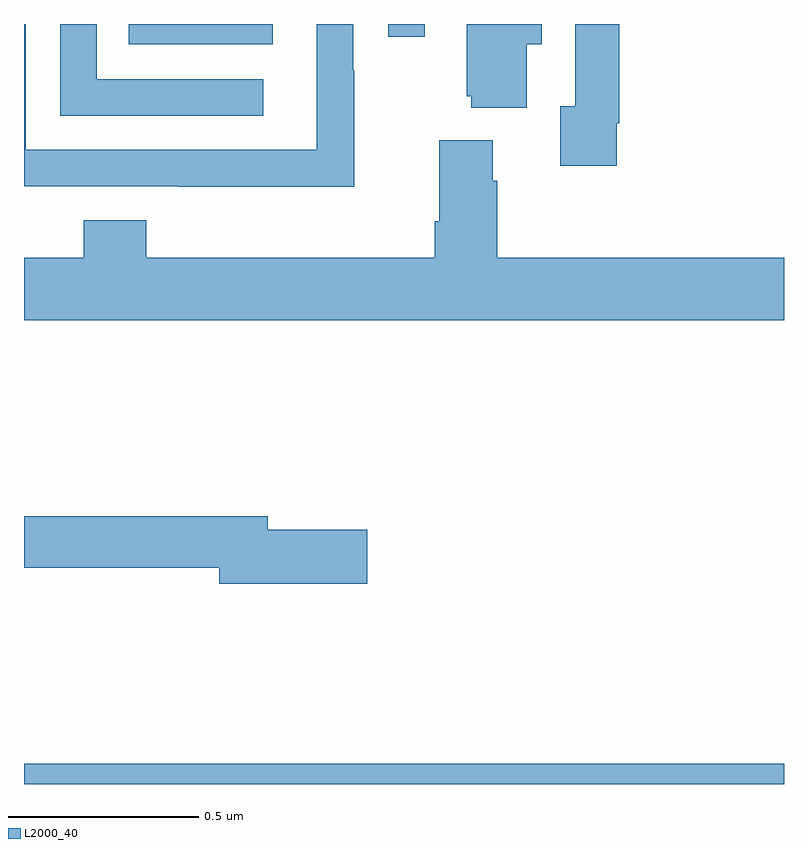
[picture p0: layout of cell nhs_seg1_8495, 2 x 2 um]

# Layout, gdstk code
import gdstk
lib = gdstk.Library(unit=1e-6, precision=1e-09)
def R(c, l, rs):  # rectangles x0, y0, x1, y1
    for r in rs: c.add(gdstk.rectangle(r[:2], r[2:], *l))
def P(c, l, *ps):  # polygons
    for p in ps: c.add(gdstk.Polygon(p, *l))
L2000_40 = (2000, 40)

nhs_seg1_8495 = lib.new_cell('nhs_seg1_8495')
R(nhs_seg1_8495, L2000_40, [(217,529.199,219,529.252), (217.276,531.146,217.654,531.199), (217.959,531.165,218.055,531.199)])
P(nhs_seg1_8495, L2000_40, [(217.869,531.077),(217.866,531.077),(217.866,531.199),(217.77,531.199),(217.77,530.868),(217.005,530.868),(217.005,531.199),(217,531.199),(217,530.772),(217.405,530.772),(217.405,530.771),(217.869,530.771)],
  [(218.323,531.146),(218.362,531.146),(218.362,531.199),(218.165,531.199),(218.165,531.009),(218.177,531.009),(218.177,530.978),(218.323,530.978)],
  [(217.63,531.054),(217.191,531.054),(217.191,531.199),(217.095,531.199),(217.095,530.958),(217.63,530.958)],
  [(218.56,530.938),(218.567,530.938),(218.567,531.199),(218.451,531.199),(218.451,530.982),(218.411,530.982),(218.411,530.826),(218.56,530.826)],
  [(219,530.584),(218.246,530.584),(218.246,530.786),(218.233,530.786),(218.233,530.893),(218.093,530.893),(218.093,530.68),(218.081,530.68),(218.081,530.584),(217.322,530.584),(217.322,530.683),(217.157,530.683),(217.157,530.584),(217,530.584),(217,530.42),(219,530.42)],
  [(217.903,529.868),(217.642,529.868),(217.642,529.904),(217,529.904),(217,529.768),(217.514,529.768),(217.514,529.726),(217.903,529.726)])

lib.write_gds('nhs_seg1_8495.gds')
